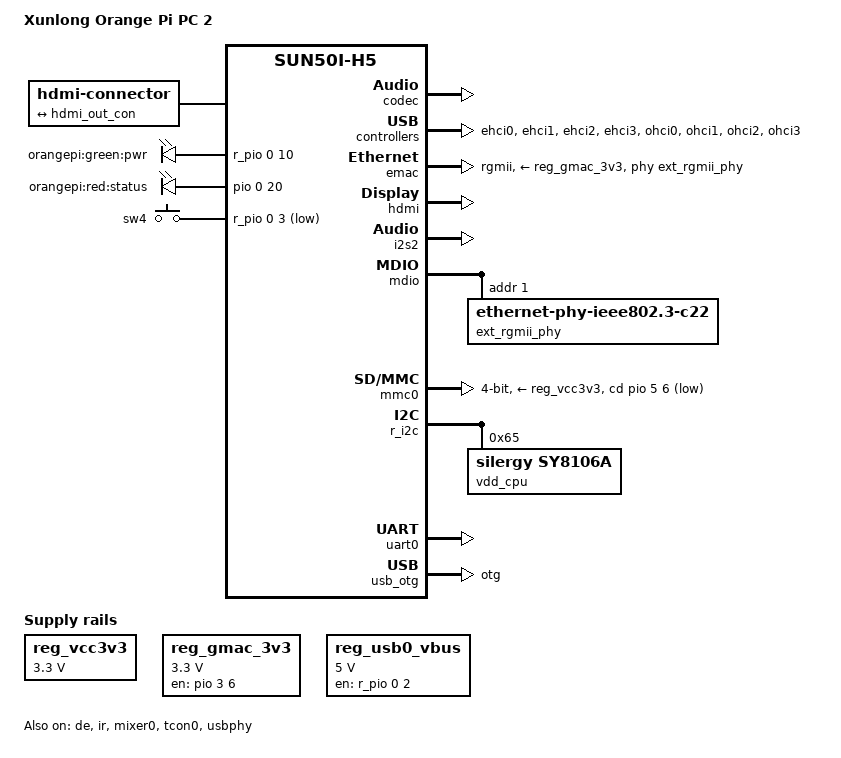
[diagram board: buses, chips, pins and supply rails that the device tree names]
/*
 * Copyright (C) 2016 ARM Ltd.
 *
 * This file is dual-licensed: you can use it either under the terms
 * of the GPL or the X11 license, at your option. Note that this dual
 * licensing only applies to this file, and not this project as a
 * whole.
 *
 *  a) This file is free software; you can redistribute it and/or
 *     modify it under the terms of the GNU General Public License as
 *     published by the Free Software Foundation; either version 2 of the
 *     License, or (at your option) any later version.
 *
 *     This file is distributed in the hope that it will be useful,
 *     but WITHOUT ANY WARRANTY; without even the implied warranty of
 *     MERCHANTABILITY or FITNESS FOR A PARTICULAR PURPOSE.  See the
 *     GNU General Public License for more details.
 *
 * Or, alternatively,
 *
 *  b) Permission is hereby granted, free of charge, to any person
 *     obtaining a copy of this software and associated documentation
 *     files (the "Software"), to deal in the Software without
 *     restriction, including without limitation the rights to use,
 *     copy, modify, merge, publish, distribute, sublicense, and/or
 *     sell copies of the Software, and to permit persons to whom the
 *     Software is furnished to do so, subject to the following
 *     conditions:
 *
 *     The above copyright notice and this permission notice shall be
 *     included in all copies or substantial portions of the Software.
 *
 *     THE SOFTWARE IS PROVIDED "AS IS", WITHOUT WARRANTY OF ANY KIND,
 *     EXPRESS OR IMPLIED, INCLUDING BUT NOT LIMITED TO THE WARRANTIES
 *     OF MERCHANTABILITY, FITNESS FOR A PARTICULAR PURPOSE AND
 *     NONINFRINGEMENT. IN NO EVENT SHALL THE AUTHORS OR COPYRIGHT
 *     HOLDERS BE LIABLE FOR ANY CLAIM, DAMAGES OR OTHER LIABILITY,
 *     WHETHER IN AN ACTION OF CONTRACT, TORT OR OTHERWISE, ARISING
 *     FROM, OUT OF OR IN CONNECTION WITH THE SOFTWARE OR THE USE OR
 *     OTHER DEALINGS IN THE SOFTWARE.
 */

/dts-v1/;
#include "sun50i-h5.dtsi"

#include <dt-bindings/gpio/gpio.h>
#include <dt-bindings/input/input.h>
#include <dt-bindings/pinctrl/sun4i-a10.h>
#include <dt-bindings/thermal/thermal.h>

/ {
	model = "Xunlong Orange Pi PC 2";
	compatible = "xunlong,orangepi-pc2", "allwinner,sun50i-h5";

	reg_vcc3v3: vcc3v3 {
		compatible = "regulator-fixed";
		regulator-name = "vcc3v3";
		regulator-min-microvolt = <3300000>;
		regulator-max-microvolt = <3300000>;
	};

	aliases {
		ethernet0 = &emac;
		serial0 = &uart0;
	};

	chosen {
		stdout-path = "serial0:115200n8";
	};

	connector {
		compatible = "hdmi-connector";
		type = "a";

		port {
			hdmi_con_in: endpoint {
				remote-endpoint = <&hdmi_out_con>;
			};
		};
	};

	leds {
		compatible = "gpio-leds";

		pwr {
			label = "orangepi:green:pwr";
			gpios = <&r_pio 0 10 GPIO_ACTIVE_HIGH>;
			default-state = "on";
		};

		status {
			label = "orangepi:red:status";
			gpios = <&pio 0 20 GPIO_ACTIVE_HIGH>;
		};
	};

	r-gpio-keys {
		compatible = "gpio-keys";

		sw4 {
			label = "sw4";
			linux,code = <KEY_POWER>;
			gpios = <&r_pio 0 3 GPIO_ACTIVE_LOW>;
		};
	};

	reg_gmac_3v3: gmac-3v3 {
		compatible = "regulator-fixed";
		regulator-name = "gmac-3v3";
		regulator-min-microvolt = <3300000>;
		regulator-max-microvolt = <3300000>;
		startup-delay-us = <100000>;
		enable-active-high;
		gpio = <&pio 3 6 GPIO_ACTIVE_HIGH>;
	};

	reg_usb0_vbus: usb0-vbus {
		compatible = "regulator-fixed";
		regulator-name = "usb0-vbus";
		regulator-min-microvolt = <5000000>;
		regulator-max-microvolt = <5000000>;
		enable-active-high;
		gpio = <&r_pio 0 2 GPIO_ACTIVE_HIGH>; /* PL2 */
		status = "okay";
	};
};

&cpu0 {
	operating-points = <
		/* kHz	  uV */
		1368000	1400000
		1344000	1400000
		1296000	1340000
		1248000	1340000
		1224000	1340000
		1200000	1320000
		1152000	1320000
		1104000	1320000
		1056000	1320000
		1008000	1200000
		960000	1200000
		816000	1100000
		648000	1100000
		480000	1100000
		240000	1100000
		120000	1100000
		>;
	#cooling-cells = <2>;
	cooling-min-level = <0>;
	cooling-max-level = <15>;
	cpu0-supply = <&vdd_cpu>;
};

&cpu_thermal {
	trips {
		cpu_warm: cpu_warm {
			temperature = <65000>;
			hysteresis = <2000>;
			type = "passive";
		};
		cpu_hot: cpu_hot {
			temperature = <75000>;
			hysteresis = <2000>;
			type = "passive";
		};
		cpu_very_hot: cpu_very_hot {
			temperature = <90000>;
			hysteresis = <2000>;
			type = "passive";
		};
		cpu_crit: cpu_crit {
			temperature = <105000>;
			hysteresis = <2000>;
			type = "critical";
		};
	};

	cooling-maps {
		cpu_warm_limit_cpu {
			trip = <&cpu_warm>;
			cooling-device = <&cpu0 THERMAL_NO_LIMIT 10>;
		};
		cpu_hot_limit_cpu {
			trip = <&cpu_hot>;
			cooling-device = <&cpu0 12 12>;
		};
		cpu_very_hot_limit_cpu {
			trip = <&cpu_very_hot>;
			cooling-device = <&cpu0 14 THERMAL_NO_LIMIT>;
		};
	};
};

&codec {
	allwinner,audio-routing =
		"Line Out", "LINEOUT",
		"MIC1", "Mic",
		"Mic",  "MBIAS";
	status = "okay";
};

&de {
	status = "okay";
};

&ehci0 {
	status = "okay";
};

&ehci1 {
	status = "okay";
};

&ehci2 {
	status = "okay";
};

&ehci3 {
	status = "okay";
};

&emac {
	pinctrl-names = "default";
	pinctrl-0 = <&emac_rgmii_pins>;
	phy-supply = <&reg_gmac_3v3>;
	phy-handle = <&ext_rgmii_phy>;
	phy-mode = "rgmii";
	status = "okay";
};

&hdmi {
	status = "okay";
};

&hdmi_out {
	hdmi_out_con: endpoint {
		remote-endpoint = <&hdmi_con_in>;
	};
};

&i2s2 {
	status = "okay";
};

&ir {
	pinctrl-names = "default";
	pinctrl-0 = <&ir_pins_a>;
	status = "okay";
};

&mdio {
	ext_rgmii_phy: ethernet-phy@1 {
		compatible = "ethernet-phy-ieee802.3-c22";
		reg = <1>;
	};
};

&mixer0 {
	status = "okay";
};

&mmc0 {
	pinctrl-names = "default";
	pinctrl-0 = <&mmc0_pins_a>, <&mmc0_cd_pin>;
	vmmc-supply = <&reg_vcc3v3>;
	bus-width = <4>;
	cd-gpios = <&pio 5 6 GPIO_ACTIVE_LOW>; /* PF6 */
	status = "okay";
};

&ohci0 {
	status = "okay";
};

&ohci1 {
	status = "okay";
};

&ohci2 {
	status = "okay";
};

&ohci3 {
	status = "okay";
};

&r_i2c {
	status = "okay";

	vdd_cpu: regulator@65 {
		compatible = "silergy,sy8106a";
		reg = <0x65>;
		regulator-min-microvolt = <1000000>;
		regulator-max-microvolt = <1400000>;
		regulator-ramp-delay = <200>;
		regulator-boot-on;
		regulator-always-on;
	};
};

&sound_hdmi {
	status = "okay";
};

&tcon0 {
	status = "okay";
};

&uart0 {
	pinctrl-names = "default";
	pinctrl-0 = <&uart0_pins_a>;
	status = "okay";
};

&uart1 {
	pinctrl-names = "default";
	pinctrl-0 = <&uart1_pins>;
	status = "disabled";
};

&uart2 {
	pinctrl-names = "default";
	pinctrl-0 = <&uart2_pins>;
	status = "disabled";
};

&usb_otg {
	dr_mode = "otg";
	status = "okay";
};

&usbphy {
	/* USB Type-A ports' VBUS is always on */
	usb0_id_det-gpios = <&pio 6 12 GPIO_ACTIVE_HIGH>; /* PG12 */
	usb0_vbus-supply = <&reg_usb0_vbus>;
	status = "okay";
};
